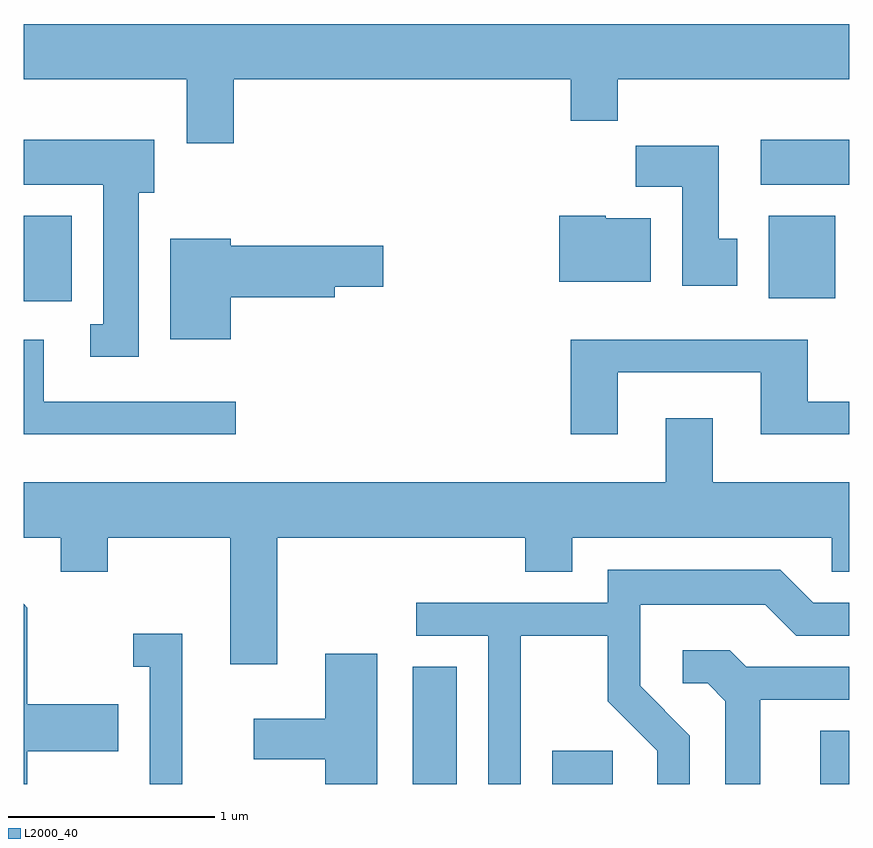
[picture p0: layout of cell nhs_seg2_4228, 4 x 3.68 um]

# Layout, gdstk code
import gdstk
lib = gdstk.Library(unit=1e-6, precision=1e-09)
def R(c, l, rs):  # rectangles x0, y0, x1, y1
    for r in rs: c.add(gdstk.rectangle(r[:2], r[2:], *l))
def P(c, l, *ps):  # polygons
    for p in ps: c.add(gdstk.Polygon(p, *l))
L2000_40 = (2000, 40)

nhs_seg2_4228 = lib.new_cell('nhs_seg2_4228')
R(nhs_seg2_4228, L2000_40, [(311.496,1033.802,311.709,1034.369), (312.171,1033.802,312.464,1033.964), (313.471,1033.802,313.611,1034.059), (309.611,1036.141,309.844,1036.554), (313.221,1036.156,313.544,1036.554), (313.181,1036.706,313.611,1036.924)])
P(nhs_seg2_4228, L2000_40, [(310.629,1037.216),(312.261,1037.216),(312.261,1037.016),(312.489,1037.016),(312.489,1037.216),(313.611,1037.216),(313.611,1037.484),(309.611,1037.484),(309.611,1037.216),(310.401,1037.216),(310.401,1036.906),(310.629,1036.906)],
  [(310.169,1036.666),(310.244,1036.666),(310.244,1036.924),(309.611,1036.924),(309.611,1036.706),(309.996,1036.706),(309.996,1036.029),(309.933,1036.029),(309.933,1035.871),(310.169,1035.871)],
  [(313.069,1036.444),(312.979,1036.444),(312.979,1036.894),(312.576,1036.894),(312.576,1036.696),(312.801,1036.696),(312.801,1036.216),(313.069,1036.216)],
  [(312.649,1036.544),(312.43,1036.544),(312.43,1036.554),(312.206,1036.554),(312.206,1036.236),(312.649,1036.236)],
  [(310.614,1036.161),(311.119,1036.161),(311.119,1036.211),(311.354,1036.211),(311.354,1036.409),(310.614,1036.409),(310.614,1036.444),(310.321,1036.444),(310.321,1035.956),(310.614,1035.956)],
  [(310.638,1035.654),(309.709,1035.654),(309.709,1035.954),(309.611,1035.954),(309.611,1035.496),(310.638,1035.496)],
  [(312.489,1035.796),(313.181,1035.796),(313.181,1035.496),(313.611,1035.496),(313.611,1035.654),(313.409,1035.654),(313.409,1035.954),(312.261,1035.954),(312.261,1035.496),(312.489,1035.496)],
  [(309.611,1034.996),(309.791,1034.996),(309.791,1034.831),(310.019,1034.831),(310.019,1034.996),(310.611,1034.996),(310.611,1034.381),(310.839,1034.381),(310.839,1034.996),(312.041,1034.996),(312.041,1034.831),(312.269,1034.831),(312.269,1034.996),(313.526,1034.996),(313.526,1034.831),(313.611,1034.831),(313.611,1035.264),(312.949,1035.264),(312.949,1035.574),(312.721,1035.574),(312.721,1035.264),(309.611,1035.264)],
  [(312.019,1034.521),(312.441,1034.521),(312.441,1034.204),(312.681,1033.964),(312.681,1033.802),(312.839,1033.802),(312.839,1034.036),(312.599,1034.277),(312.599,1034.671),(313.204,1034.671),(313.354,1034.521),(313.611,1034.521),(313.611,1034.679),(313.437,1034.679),(313.277,1034.839),(312.441,1034.839),(312.441,1034.679),(311.513,1034.679),(311.513,1034.521),(311.861,1034.521),(311.861,1033.802),(312.019,1033.802)],
  [(309.629,1033.961),(310.069,1033.961),(310.069,1034.189),(309.629,1034.189),(309.629,1034.657),(309.611,1034.675),(309.611,1033.802),(309.629,1033.802)],
  [(310.379,1034.529),(310.143,1034.529),(310.143,1034.371),(310.221,1034.371),(310.221,1033.802),(310.379,1033.802)],
  [(313.179,1034.211),(313.611,1034.211),(313.611,1034.369),(313.112,1034.369),(313.032,1034.449),(312.803,1034.449),(312.803,1034.291),(312.924,1034.291),(313.011,1034.204),(313.011,1033.802),(313.179,1033.802)],
  [(311.324,1034.434),(311.071,1034.434),(311.071,1034.119),(310.726,1034.119),(310.726,1033.921),(311.071,1033.921),(311.071,1033.802),(311.324,1033.802)])

lib.write_gds('nhs_seg2_4228.gds')
